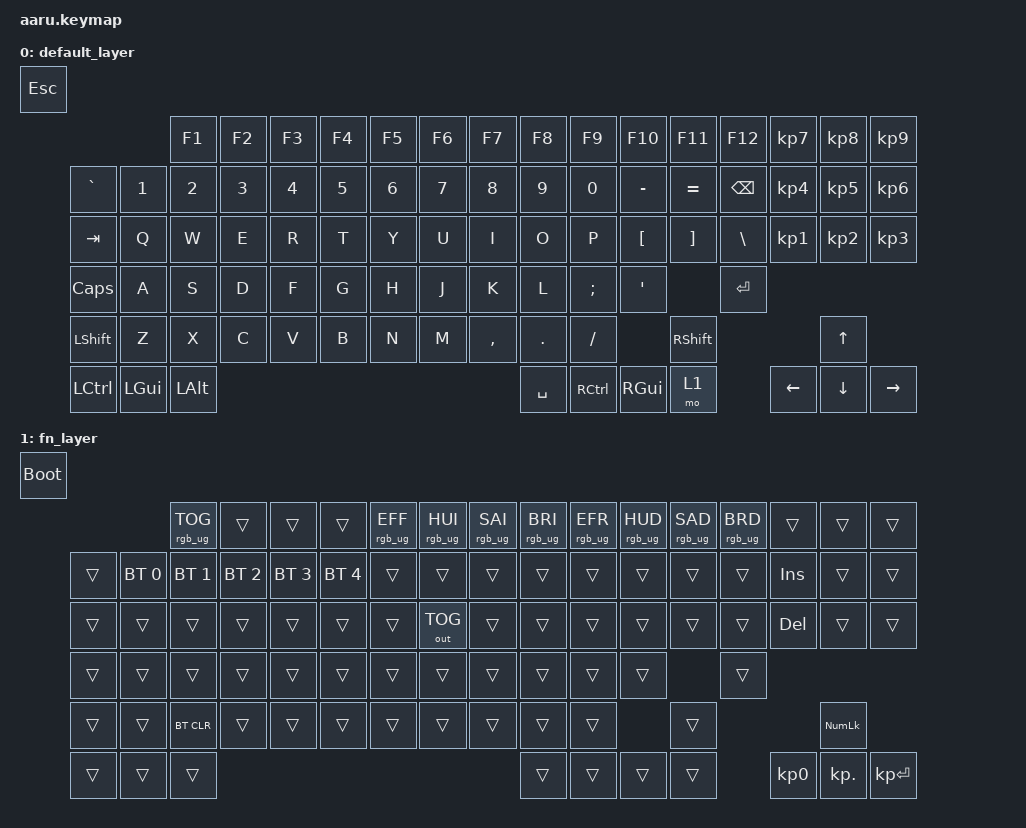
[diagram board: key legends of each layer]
#include <behaviors.dtsi>
#include <dt-bindings/zmk/bt.h>
#include <dt-bindings/zmk/keys.h>
#include <dt-bindings/zmk/outputs.h>
#include <dt-bindings/zmk/rgb.h>

/ {
    keymap {
        compatible = "zmk,keymap";

        default_layer {
            bindings = <
&kp ESC
                              &kp F1    &kp F2  &kp F3  &kp F4  &kp F5  &kp F6  &kp F7     &kp F8     &kp F9             &kp F10    &kp F11    &kp F12   &kp KP_NUMBER_7  &kp KP_NUMBER_8  &kp KP_NUMBER_9
         &kp GRAVE  &kp N1    &kp N2    &kp N3  &kp N4  &kp N5  &kp N6  &kp N7  &kp N8     &kp N9     &kp N0             &kp MINUS  &kp EQUAL  &kp BSPC  &kp KP_NUMBER_4  &kp KP_NUMBER_5  &kp KP_NUMBER_6
         &kp TAB    &kp Q     &kp W     &kp E   &kp R   &kp T   &kp Y   &kp U   &kp I      &kp O      &kp P              &kp LBKT   &kp RBKT   &kp BSLH  &kp KP_NUMBER_1  &kp KP_NUMBER_2  &kp KP_NUMBER_3
         &kp CLCK   &kp A     &kp S     &kp D   &kp F   &kp G   &kp H   &kp J   &kp K      &kp L      &kp SEMI           &kp SQT               &kp RET
         &kp LSHFT  &kp Z     &kp X     &kp C   &kp V   &kp B   &kp N   &kp M   &kp COMMA  &kp DOT    &kp FSLH                      &kp RSHFT                             &kp UP
         &kp LCTRL  &kp LGUI  &kp LALT                                                     &kp SPACE  &kp RIGHT_CONTROL  &kp RGUI   &mo 1                &kp LEFT         &kp DOWN         &kp RIGHT
            >;
        };

        fn_layer {
            bindings = <
&bootloader
                                   &rgb_ug RGB_TOG  &trans        &trans        &trans        &rgb_ug RGB_EFF  &rgb_ug RGB_HUI  &rgb_ug RGB_SAI  &rgb_ug RGB_BRI  &rgb_ug RGB_EFR  &rgb_ug RGB_HUD  &rgb_ug RGB_SAD  &rgb_ug RGB_BRD  &trans           &trans          &trans
             &trans  &bt BT_SEL 0  &bt BT_SEL 1     &bt BT_SEL 2  &bt BT_SEL 3  &bt BT_SEL 4  &trans           &trans           &trans           &trans           &trans           &trans           &trans           &trans           &kp INSERT       &trans          &trans
             &trans  &trans        &trans           &trans        &trans        &trans        &trans           &out OUT_TOG     &trans           &trans           &trans           &trans           &trans           &trans           &kp DEL          &trans          &trans
             &trans  &trans        &trans           &trans        &trans        &trans        &trans           &trans           &trans           &trans           &trans           &trans                            &trans
             &trans  &trans        &bt BT_CLR       &trans        &trans        &trans        &trans           &trans           &trans           &trans           &trans                            &trans                                             &kp KP_NUMLOCK
             &trans  &trans        &trans                                                                                                        &trans           &trans           &trans           &trans                            &kp KP_NUMBER_0  &kp KP_DOT      &kp KP_ENTER
            >;
        };
    };
};
